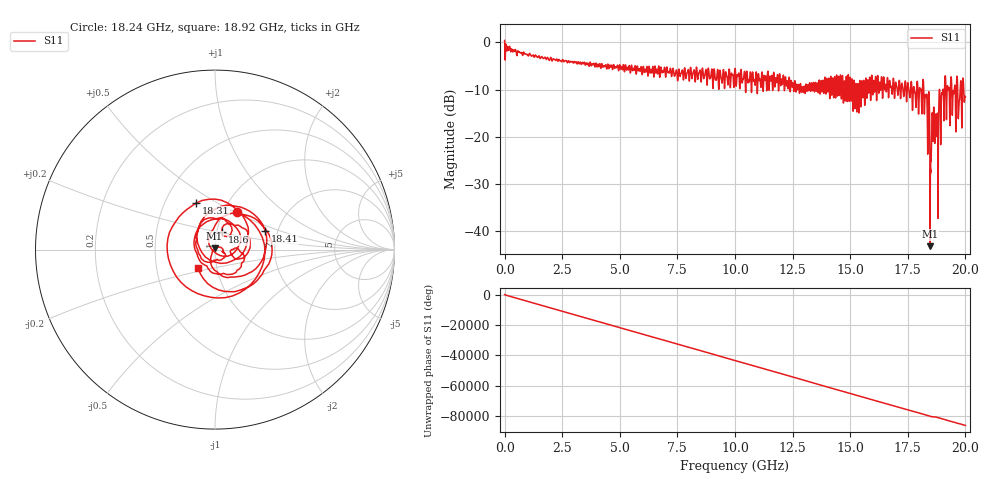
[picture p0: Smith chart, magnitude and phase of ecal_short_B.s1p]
! MS46122B
! 2250307/22442219
! 7/23/2025 7:48:38 AM
! C:\USERS\SPARKY\DOCUMENTS\VNA_DATA\JULY23_2025\3K\ECAL_SHORT_B.S1P
! CHANNEL.1
! TR.MEASUREMENT
! RAW.DATA
# GHZ S RI R 50.0
! FREQ.GHZ  S11RE  S11IM
!; PortSelection: Port_1
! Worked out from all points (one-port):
!   10001 points, 1 MHz to 20 GHz, reference 50 ohm
!   lowest |S11| = -43.1 dB at 18.47 GHz (marker M1), VSWR 1.01, Z = 49.7 + j0.645 ohm
!   |S11| at or under -10 dB: 18.19 GHz to 18.87 GHz (680 MHz wide, 3.67 % of centre); 18.88 GHz to 19.03 GHz (148.1 MHz wide, 0.781 % of centre); 19.41 GHz to 19.52 GHz (109.7 MHz wide, 0.564 % of centre) (the widest 3 of 82)
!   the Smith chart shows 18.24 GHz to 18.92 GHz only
!   S11 on the Smith chart (normalised r, x): 18.24 GHz: 1.15, +0.51; 18.31 GHz: 0.72, +0.40; 18.41 GHz: 1.72, +0.40; 18.6 GHz: 1.06, +0.21; 18.92 GHz: 0.81, -0.17
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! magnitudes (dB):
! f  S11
! 1 MHz  0.4
! 2.501 GHz  -3.8
! 5.001 GHz  -4.7
! 7.501 GHz  -7.8
! 10 GHz  -5.5
! 12.5 GHz  -8.8
! 15 GHz  -7.4
! 15.29 GHz  -14.6
! 16.02 GHz  -8.1
! 17.5 GHz  -8.5
! 18.24 GHz  -12.4
! 18.31 GHz  -11.1
! 18.36 GHz  -19.0
! 18.41 GHz  -10.5
! 18.47 GHz  -43.1
! 18.55 GHz  -17.2
! 18.6 GHz  -19.4
! 18.7 GHz  -15.5
! 18.75 GHz  -19.7
! 18.92 GHz  -17.1
! 19.05 GHz  -12.1
! 19.19 GHz  -12.2
! 19.25 GHz  -10.2
! 19.31 GHz  -11.7
! 19.72 GHz  -13.2
! 19.77 GHz  -10.7
! 19.84 GHz  -15.2
! 20 GHz  -11.6
